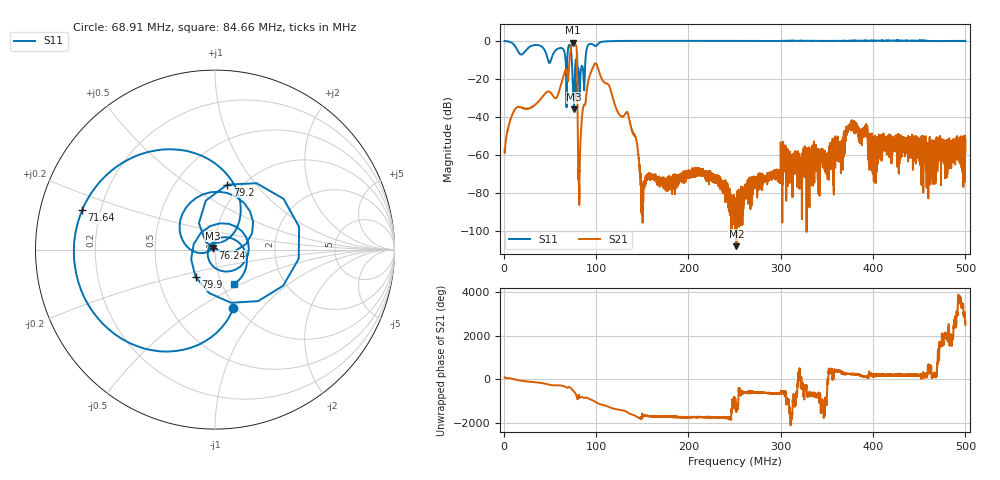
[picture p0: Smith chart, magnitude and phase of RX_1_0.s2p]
! NanoVNA-App
! Date: 2026-08-26 21:57:01
! Start: 1MHz Stop: 500MHz Points: 6401
! S-Parameter data: F S11 S21 S12 S22
# Hz S RI R 50
!  Frequency  S11_Real  S11_Imag  S21_Real  S21_Imag  S12_Real  S12_Imag  S22_Real  S22_Imag
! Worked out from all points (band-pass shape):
!   6401 points, 1 MHz to 500 MHz, reference 50 ohm
!   highest |S21| = -0.93 dB at 75.3 MHz (marker M1); lowest = -107.7 dB at 252.1 MHz (marker M2)
!   |S21| within 3 dB of the highest: 72.73 MHz to 78.97 MHz (6.238 MHz wide, 8.22 % of centre)
!   lowest |S11| = -35.9 dB at 76.24 MHz (marker M3), VSWR 1.03, Z = 48.7 + j0.905 ohm
!   |S11| at or under -10 dB: 47.97 MHz to 51.23 MHz (3.258 MHz wide, 6.57 % of centre); 73.75 MHz to 78.06 MHz (4.302 MHz wide, 5.67 % of centre); 79.74 MHz to 88.51 MHz (8.769 MHz wide, 10.4 % of centre)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
!   S12 and S22 are empty: the file has one direction only
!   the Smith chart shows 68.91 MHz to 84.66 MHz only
!   S11 on the Smith chart (normalised r, x): 68.91 MHz: 0.97, -0.72; 71.64 MHz: 0.13, +0.14; 76.24 MHz: 0.97, +0.02; 79.2 MHz: 0.86, +0.72; 79.9 MHz: 0.77, -0.24; 84.66 MHz: 1.14, -0.46
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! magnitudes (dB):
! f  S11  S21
! 1 MHz  -0.1  -56.8
! 13.01 MHz  -3.3  -35.5
! 56.75 MHz  -4.7  -30.1
! 68.91 MHz  -9.3  -17.8
! 71.64 MHz  -2.2  -8.5
! 75.3 MHz  -28.1  -0.9
! 76.24 MHz  -35.9  -1.0
! 79.2 MHz  -8.7  -7.2
! 79.9 MHz  -14.6  -33.4
! 82.24 MHz  -29.1  -68.6
! 84.19 MHz  -13.7  -43.4
! 84.66 MHz  -13.2  -40.4
! 99.94 MHz  -2.8  -11.9
! 134.8 MHz  0.0  -38.5
! 150.2 MHz  0.0  -91.8
! 167.4 MHz  0.0  -73.9
! 250.5 MHz  0.0  -95.8
! 252.1 MHz  0.0  -107.7
! 333.7 MHz  0.0  -57.1
! 377.3 MHz  0.0  -42.4
! 416.9 MHz  0.1  -55.1
! 500 MHz  0.0  -59.0
